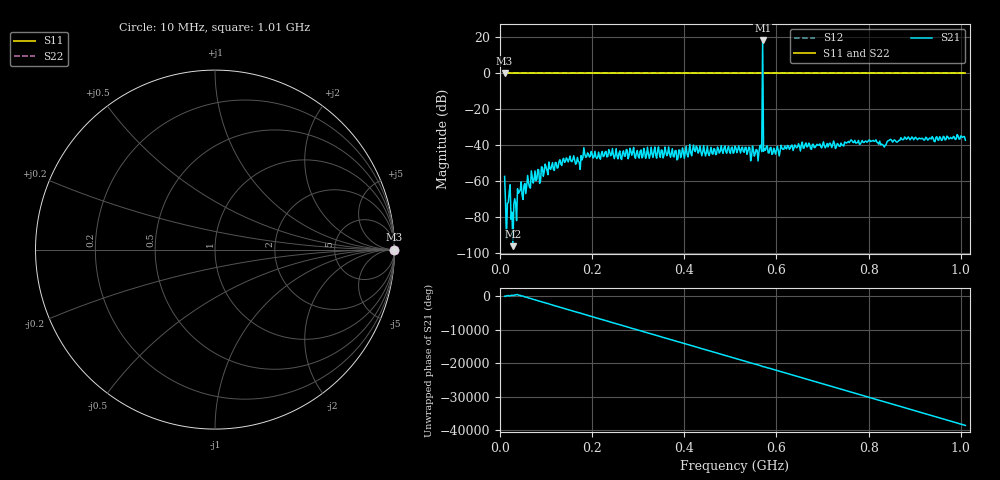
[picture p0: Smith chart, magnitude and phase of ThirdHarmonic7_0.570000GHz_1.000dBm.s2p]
! 8/17/2025 5:33:57 PM
! C:\ANRITSUVNA\TEMP\TEMP.S2P
! CHANNEL.1
! TR.MEASUREMENT
! RAW.DATA
! RF.CORRECTION.OFF
! AVERAGING.OFF
! IF.BANDWIDTH: 5KHZ
! SWEEPTYPE:  FREQ.SWEEP(Linear)
! Reference Plane Port Info
! PORT:  PORT1  PORT2
! DISTANCE:  0  m  0  m
! TIME:  0  s  0  s
! PHASE.OFFSET:  0  deg.  0  deg.
! LOSS:  0  dB  0  dB
! REF.LOSS:  0  dB  0  dB
! REF.FREQ:  0  Hz  0  Hz
! Power Info
! POWER:  -20  dBm  -20  dBm
! EFF.POWER:  -20  dBm  -20  dBm
! SOURCE.ATTEN:  0  dB  0  dB
! TEST.ATTEN:  0  dB  0  dB
# GHZ S RI R 50.0
! FREQ.GHZ  S11RE  S11IM  S21RE  S21IM  S12RE  S12IM  S22RE  S22IM
!; PortSelection: Port_12
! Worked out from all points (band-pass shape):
!   501 points, 10 MHz to 1.01 GHz, reference 50 ohm
!   highest |S21| = 17.98 dB at 570 MHz (marker M1); lowest = -96.0 dB at 28 MHz (marker M2)
!   |S21| within 3 dB of the highest: 569.9025 MHz to 570.0978 MHz (195.2 kHz wide, 0.0343 % of centre)
!   lowest |S11| = 0.0 dB at 10 MHz (marker M3)
!   |S11| at or under -10 dB: nowhere
!   |S22| runs from 0.0 to 0.0 dB; largest |S21 - S12| = 8.8
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0.01  1 0  0.00135 0.000189  1 0  1 0
0.016  1 0  -0.000216 -0.000101  1 0  1 0
0.02  1 0  1.18e-05 0.000501  1 0  1 0
0.028  1 0  -1e-06 -1.59e-05  1 0  1 0
0.042  1 0  0.000304 -0.000412  1 0  1 0
0.052  1 0  -1.06e-05 -0.000758  1 0  1 0
0.072  1 0  -0.000863 0.000215  1 0  1 0
0.14  1 0  0.000866 -0.00322  1 0  1 0
0.17  1 0  -0.00312 0.00171  1 0  1 0
0.178  1 0  -0.0039 -0.000342  1 0  1 0
0.344  1 0  0.00851 -0.00269  1 0  1 0
0.51  1 0  -0.00899 -0.00268  1 0  1 0
0.564  1 0  -0.00879 -0.00407  1 0  1 0
0.566  1 0  -0.00192 0.00983  1 0  1 0
0.57  1 0  -7.007 -3.708  1 0  1 0
0.574  1 0  -0.00577 0.00553  1 0  1 0
0.576  1 0  0.00244 0.00679  1 0  1 0
0.678  1 0  0.00631 -0.00828  1 0  1 0
0.76  1 0  -0.00372 -0.0125  1 0  1 0
0.834  1 0  -0.00819 0.00338  1 0  1 0
0.844  1 0  -0.00726 0.0113  1 0  1 0
1.01  1 0  0.00169 -0.0135  1 0  1 0
